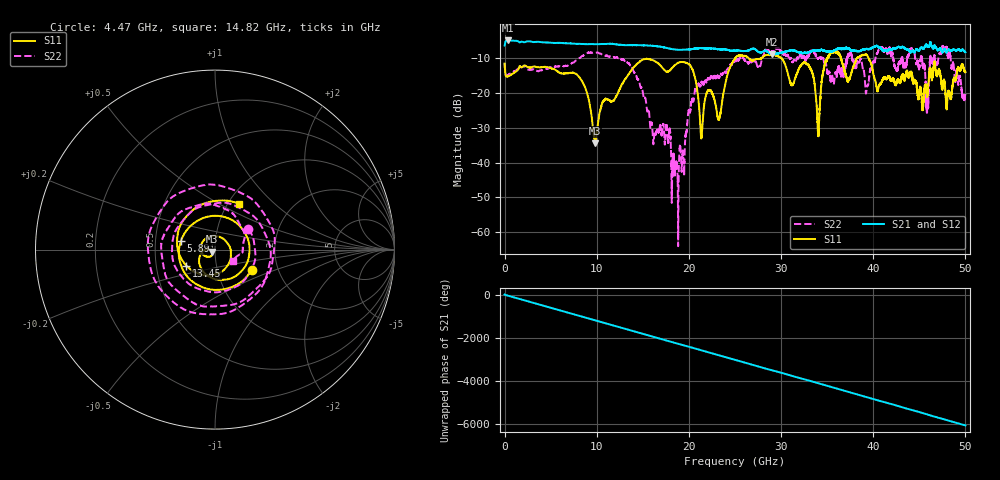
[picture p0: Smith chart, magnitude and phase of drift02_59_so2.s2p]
!Created with skrf (http://scikit-rf.org).
# Hz S RI R 50.0
!freq ReS11 ImS11 ReS21 ImS21 ReS12 ImS12 ReS22 ImS22
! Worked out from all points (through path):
!   10001 points, 300 kHz to 50 GHz, reference 50 ohm
!   highest |S21| = -5.04 dB at 325.3 MHz (marker M1); lowest = -9.0 dB at 29.01 GHz (marker M2)
!   group delay of S21, straight-line fit = 336 ps
!   lowest |S11| = -34.5 dB at 9.84 GHz (marker M3), VSWR 1.04, Z = 48.5 - j1.03 ohm
!   |S11| at or under -10 dB: start of sweep to 25.07 GHz; 29.97 GHz to 35.05 GHz (5.083 GHz wide, 15.6 % of centre); 39.48 GHz to end of sweep (the widest 3 of 8)
!   |S22| runs from -64.0 to -6.5 dB; largest |S21 - S12| = 0.022
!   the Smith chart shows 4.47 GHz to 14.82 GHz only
!   S11 on the Smith chart (normalised r, x): 4.47 GHz: 1.46, -0.35; 5.89 GHz: 0.68, +0.07; 13.45 GHz: 0.71, -0.13; 14.82 GHz: 1.13, +0.63
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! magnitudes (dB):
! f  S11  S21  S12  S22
! 300 kHz  -11.7  -6.5  -6.4  -11.6
! 325.3 MHz  -15.4  -5.0  -5.0  -15.0
! 4.47 GHz  -12.7  -5.6  -5.6  -13.2
! 5.89 GHz  -14.2  -5.7  -5.7  -12.5
! 8.335 GHz  -16.4  -6.0  -6.0  -9.6
! 9.84 GHz  -34.5  -6.1  -6.1  -8.5
! 13.45 GHz  -14.7  -6.4  -6.4  -11.6
! 14.82 GHz  -10.8  -6.4  -6.4  -18.5
! 16.67 GHz  -11.6  -6.7  -6.7  -31.1
! 18.67 GHz  -11.8  -7.7  -7.7  -40.5
! 20.37 GHz  -13.3  -7.5  -7.5  -21.9
! 21.37 GHz  -32.3  -7.2  -7.3  -16.9
! 23.31 GHz  -27.3  -7.5  -7.6  -15.6
! 25 GHz  -10.3  -7.9  -8.0  -11.2
! 29.01 GHz  -9.1  -9.0  -9.0  -8.2
! 33.34 GHz  -14.0  -8.1  -8.1  -8.1
! 34.02 GHz  -31.8  -7.9  -8.0  -10.3
! 35.52 GHz  -8.5  -8.2  -8.1  -15.5
! 41.67 GHz  -15.3  -7.7  -7.8  -7.5
! 45.87 GHz  -20.5  -6.7  -6.8  -24.6
! 47.76 GHz  -17.1  -7.5  -7.5  -7.4
! 50 GHz  -14.1  -8.4  -8.4  -20.4
